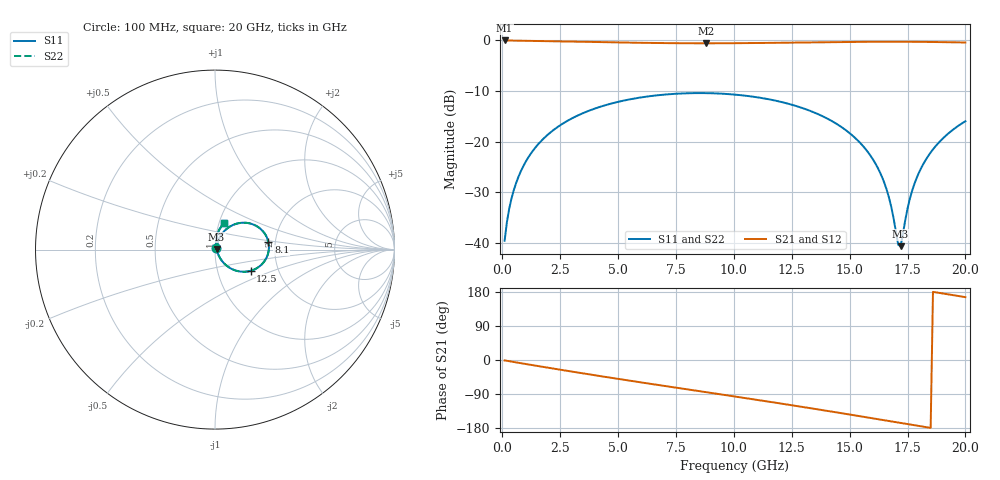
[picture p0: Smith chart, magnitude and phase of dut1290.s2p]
! Touchstone file exported from HFSS 2026.1.0
!  File:  C:/ffzhzh/LocalFiles/Ansys_Project_Files/temp_train_TSV_RDL_1290_1783332053_30076.aedt
!  Generated:  06:13:36 PM Jul  6, 2026
!  Design:  TSV_RDL
!  Project:  temp_train_TSV_RDL_1290_1783332053_30076
! Variables:
!  h_bsmrdl = 3.24um
!  h_ox = 20um
!  h_rdl = 5um
!  h_sub = 79.78um
!  h_tmrdl = 5.9um
!  h_tsv = 79.78um
!  h_via = 3um
!  l_bsmrdl = 125.88um
!  l_sub = 3203um
!  l_tmrdl = 563.86um
!  m_sub = 200um
!  pitch = 47.17um
!  r_tsv = 13.26um
!  s_tmrdl = 10um
!  w_bsmrdl = 29.6um
!  w_sub = 500um
!  w_tmrdl = 27.04um
!  x_tsv_center1 = 577.38um
!  x_tsv_center2 = 732.86um
!  x_tsv_center3 = 1323.76um
!  x_tsv_center4 = 1479.24um
!  x_tsv_center5 = 2070.14um
!  x_tsv_center6 = 2225.62um
# GHz S MA R 50.000000
! Terminal data exported
! Port[1] = TM_RDL1_1_T1
! Port[2] = TM_RDL5_1_T1
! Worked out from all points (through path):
!   200 points, 100 MHz to 20 GHz, reference 50 ohm
!   highest |S21| = -0.07 dB at 100 MHz (marker M1); lowest = -0.6 dB at 8.8 GHz (marker M2)
!   group delay of S21, straight-line fit = 26.6 ps
!   lowest |S11| = -40.6 dB at 17.2 GHz (marker M3), VSWR 1.02, Z = 50.8 + j0.425 ohm
!   |S11| at or under -10 dB: start of sweep to end of sweep
!   |S22| runs from -40.5 to -10.4 dB; largest |S21 - S12| = 4.3e-14
!   S11 on the Smith chart (normalised r, x): 100 MHz: 1.02, +0.01; 8.1 GHz: 1.83, +0.18; 12.5 GHz: 1.44, -0.36; 20 GHz: 1.06, +0.33
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0.1  0.01059 41.7  0.9922 -1.1  0.9922 -1.1  0.01059 41.7
! Gamma 0 0 0 0
! Port Impedance 50 0 50 0
0.3  0.02199 62.2  0.9906 -3.2  0.9906 -3.2  0.02199 62.2
0.5  0.03355 67.5  0.9895 -5.3  0.9895 -5.3  0.03355 67.5
1.1  0.06865 69.0  0.9862 -11.4  0.9862 -11.4  0.06865 69.0
2.1  0.1245 62.0  0.9782 -21.6  0.9782 -21.6  0.1245 62.0
3.5  0.1916 49.4  0.9638 -35.4  0.9638 -35.4  0.1916 49.4
6.8  0.2879 19.8  0.9355 -66.6  0.9355 -66.6  0.2879 19.8
8.1  0.3002 8.3  0.9308 -78.5  0.9308 -78.5  0.3002 8.4
8.8  0.3007 2.2  0.9301 -84.9  0.9301 -84.9  0.3007 2.2
10.1  0.29 -9.3  0.9324 -96.8  0.9324 -96.8  0.29 -9.3
12.5  0.2313 -30.7  0.9455 -119.4  0.9455 -119.4  0.2313 -30.7
13.4  0.1969 -38.8  0.9516 -128.0  0.9516 -128.0  0.1969 -38.8
14.6  0.1418 -49.3  0.959 -139.9  0.959 -139.9  0.1418 -49.3
15.5  0.09488 -56.3  0.9629 -148.8  0.9629 -148.8  0.09492 -56.2
16.2  0.05616 -59.4  0.9645 -155.9  0.9645 -155.9  0.05619 -59.3
16.7  0.02818 -54.9  0.9648 -161.0  0.9648 -161.0  0.02822 -54.8
17.1  0.009664 -8.2  0.9644 -165.0  0.9644 -165.0  0.009721 -8.2
17.2  0.009366 26.5  0.9642 -166.0  0.9642 -166.0  0.009408 26.3
17.6  0.02735 78.2  0.9632 -170.1  0.9632 -170.1  0.02734 78.1
18.1  0.05561 83.2  0.9611 -175.2  0.9611 -175.2  0.05559 83.2
18.9  0.1007 79.5  0.9564 176.8  0.9564 176.8  0.1007 79.5
20  0.159 70.7  0.9473 165.8  0.9473 165.8  0.159 70.7
